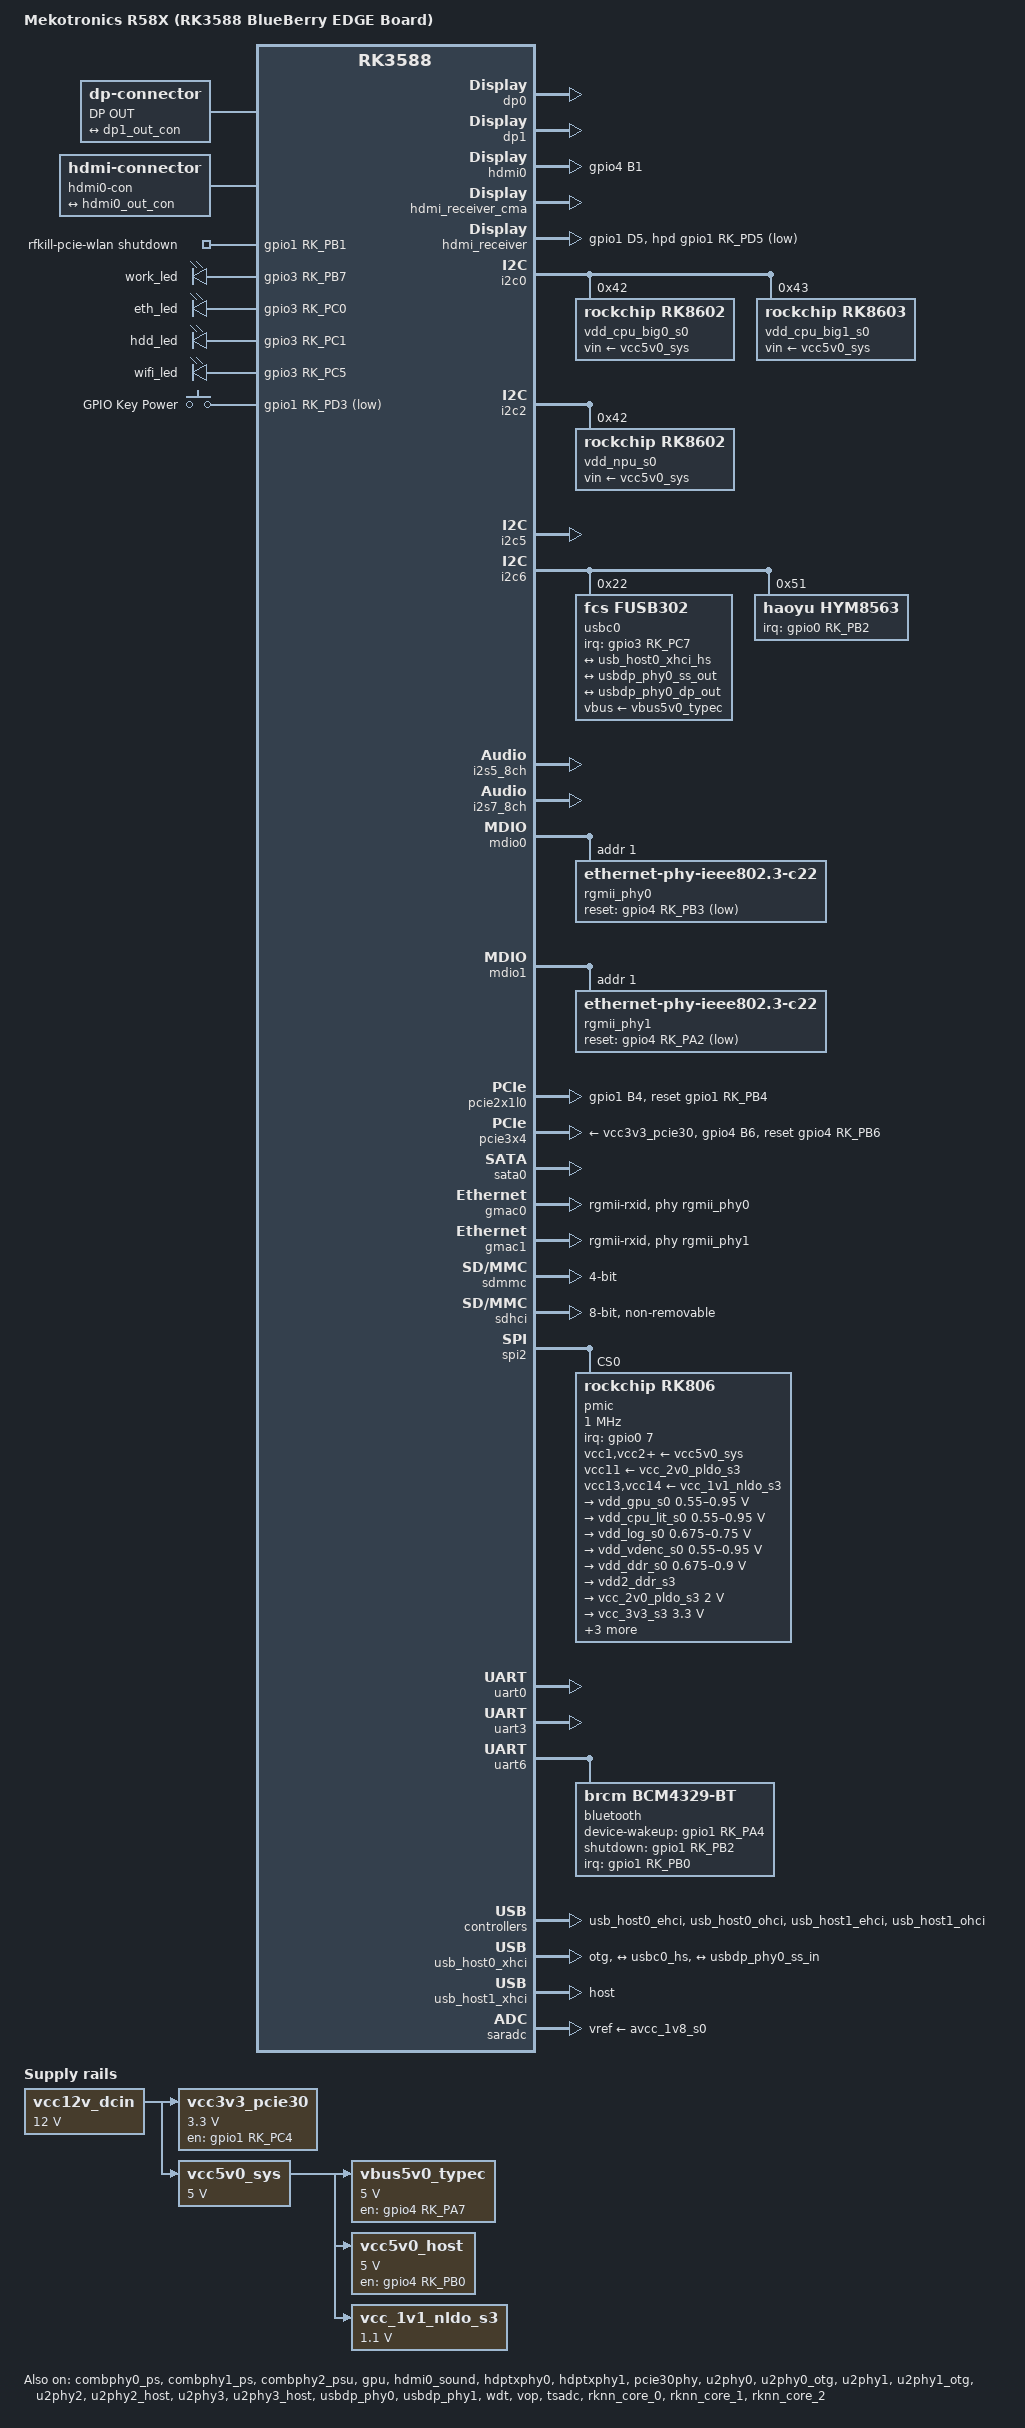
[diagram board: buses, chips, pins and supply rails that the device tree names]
// SPDX-License-Identifier: (GPL-2.0+ OR MIT)
/*
 * Copyright (c) 2026, Corey Moyer <cronmod.dev@gmail.com>
 */

/dts-v1/;

#include <dt-bindings/gpio/gpio.h>
#include <dt-bindings/input/input.h>
#include <dt-bindings/leds/common.h>
#include <dt-bindings/pinctrl/rockchip.h>
#include <dt-bindings/soc/rockchip,vop2.h>
#include <dt-bindings/usb/pd.h>
#include "rk3588.dtsi"

/ {
	model = "Mekotronics R58X (RK3588 BlueBerry EDGE Board)";
	compatible = "rockchip,rk3588-blueberry-edge", "rockchip,rk3588";

	aliases {
		ethernet0 = &gmac0;
		ethernet1 = &gmac1;
		mmc0 = &sdhci;
		mmc1 = &sdmmc;
	};

	chosen {
		stdout-path = "serial2:1500000n8";
	};

	/*
	 * Full-size DisplayPort output, driven by DP1. As on the R58 MiniPC,
	 * this connector is not fitted on every revision; describing it
	 * regardless is harmless, since an absent connector never reports a
	 * sink.
	 */
	dp-con {
		compatible = "dp-connector";
		label = "DP OUT";
		type = "full-size";

		port {
			dp_con_in: endpoint {
				remote-endpoint = <&dp1_out_con>;
			};
		};
	};

	hdmi0-con {
		compatible = "hdmi-connector";
		type = "a";

		port {
			hdmi0_con_in: endpoint {
				remote-endpoint = <&hdmi0_out_con>;
			};
		};
	};

	rfkill {
		compatible = "rfkill-gpio";
		label = "rfkill-pcie-wlan";
		radio-type = "wlan";
		pinctrl-names = "default";
		pinctrl-0 = <&wifi_pwren>;
		shutdown-gpios = <&gpio1 RK_PB1 GPIO_ACTIVE_HIGH>;
	};

	/*
	 * The vendor DTS carries four status LEDs on this board (work, eth,
	 * hdd, wifi) instead of the single heartbeat LED on the MiniPC.
	 */
	leds {
		compatible = "gpio-leds";
		pinctrl-names = "default";
		pinctrl-0 = <&led_pins>;

		work_led: led-0 {
			function = LED_FUNCTION_HEARTBEAT;
			gpios = <&gpio3 RK_PB7 GPIO_ACTIVE_HIGH>;
			linux,default-trigger = "heartbeat";
			default-state = "on";
		};

		eth_led: led-1 {
			function = LED_FUNCTION_LAN;
			gpios = <&gpio3 RK_PC0 GPIO_ACTIVE_HIGH>;
			default-state = "off";
		};

		hdd_led: led-2 {
			function = LED_FUNCTION_DISK;
			gpios = <&gpio3 RK_PC1 GPIO_ACTIVE_HIGH>;
			default-state = "off";
		};

		wifi_led: led-3 {
			function = LED_FUNCTION_WLAN;
			gpios = <&gpio3 RK_PC5 GPIO_ACTIVE_HIGH>;
			default-state = "off";
		};
	};

	gpio-keys {
		compatible = "gpio-keys";
		autorepeat;
		pinctrl-names = "default";
		pinctrl-0 = <&pwrbtn>;

		key-power {
			debounce-interval = <100>;
			gpios = <&gpio1 RK_PD3 GPIO_ACTIVE_LOW>;
			label = "GPIO Key Power";
			linux,code = <KEY_POWER>;
			wakeup-source;
		};
	};

	vcc12v_dcin: regulator-vcc12v-dcin {
		compatible = "regulator-fixed";
		regulator-name = "vcc12v_dcin";
		regulator-always-on;
		regulator-boot-on;
		regulator-min-microvolt = <12000000>;
		regulator-max-microvolt = <12000000>;
	};

	vbus5v0_typec: regulator-vbus5v0-typec {
		compatible = "regulator-fixed";
		regulator-name = "vbus5v0_typec";
		regulator-min-microvolt = <5000000>;
		regulator-max-microvolt = <5000000>;
		enable-active-high;
		gpio = <&gpio4 RK_PA7 GPIO_ACTIVE_HIGH>;
		pinctrl-names = "default";
		pinctrl-0 = <&typec5v_pwren>;
		vin-supply = <&vcc5v0_sys>;
	};

	vcc3v3_pcie30: regulator-vcc3v3-pcie30 {
		compatible = "regulator-fixed";
		regulator-name = "vcc3v3_pcie30";
		regulator-min-microvolt = <3300000>;
		regulator-max-microvolt = <3300000>;
		enable-active-high;
		gpio = <&gpio1 RK_PC4 GPIO_ACTIVE_HIGH>;
		pinctrl-names = "default";
		pinctrl-0 = <&vcc3v3_pcie30_en>;
		startup-delay-us = <10000>;
		vin-supply = <&vcc12v_dcin>;
	};

	vcc5v0_sys: regulator-vcc5v0-sys {
		compatible = "regulator-fixed";
		regulator-name = "vcc5v0_sys";
		regulator-always-on;
		regulator-boot-on;
		regulator-min-microvolt = <5000000>;
		regulator-max-microvolt = <5000000>;
		vin-supply = <&vcc12v_dcin>;
	};

	vcc5v0_host: regulator-vcc5v0-host {
		compatible = "regulator-fixed";
		regulator-name = "vcc5v0_host";
		regulator-boot-on;
		regulator-always-on;
		regulator-min-microvolt = <5000000>;
		regulator-max-microvolt = <5000000>;
		enable-active-high;
		gpio = <&gpio4 RK_PB0 GPIO_ACTIVE_HIGH>;
		pinctrl-names = "default";
		pinctrl-0 = <&vcc5v0_host_en>;
		vin-supply = <&vcc5v0_sys>;
	};

	vcc_1v1_nldo_s3: regulator-vcc-1v1-nldo-s3 {
		compatible = "regulator-fixed";
		regulator-name = "vcc_1v1_nldo_s3";
		regulator-always-on;
		regulator-boot-on;
		regulator-min-microvolt = <1100000>;
		regulator-max-microvolt = <1100000>;
		vin-supply = <&vcc5v0_sys>;
	};
};

&combphy0_ps {
	status = "okay";
};

&combphy1_ps {
	status = "okay";
};

&combphy2_psu {
	status = "okay";
};

&cpu_l0 {
	cpu-supply = <&vdd_cpu_lit_s0>;
};

&cpu_l1 {
	cpu-supply = <&vdd_cpu_lit_s0>;
};

&cpu_l2 {
	cpu-supply = <&vdd_cpu_lit_s0>;
};

&cpu_l3 {
	cpu-supply = <&vdd_cpu_lit_s0>;
};

&cpu_b0 {
	cpu-supply = <&vdd_cpu_big0_s0>;
};

&cpu_b1 {
	cpu-supply = <&vdd_cpu_big0_s0>;
};

&cpu_b2 {
	cpu-supply = <&vdd_cpu_big1_s0>;
};

&cpu_b3 {
	cpu-supply = <&vdd_cpu_big1_s0>;
};

&gpu {
	mali-supply = <&vdd_gpu_s0>;
	status = "okay";
};

/*
 * DisplayPort altmode over USB-C, on VP3. The vendor image leaves this
 * controller off on the MiniPC too, yet the fusb302 and usbdp_phy0's DP port
 * are wired the same on both boards and the firmware lists DP0 among this
 * board's display connectors, so the altmode path is enabled here as well.
 */
&dp0 {
	status = "okay";
};

&dp0_in {
	dp0_in_vp3: endpoint {
		remote-endpoint = <&vp3_out_dp0>;
	};
};

&dp0_out {
	dp0_out_con: endpoint {
		remote-endpoint = <&usbdp_phy0_dp_in>;
	};
};

/*
 * Unlike the MiniPC (which feeds this DP block from VP1, alongside HDMI1 on
 * VP2), the vendor DTS shows this board's only physical DP output enabled
 * from VP2 -- there being no HDMI1 to contend for it.
 */
&dp1 {
	pinctrl-0 = <&dp1m0_pins>;
	pinctrl-names = "default";
	status = "okay";
};

&dp1_in {
	dp1_in_vp2: endpoint {
		remote-endpoint = <&vp2_out_dp1>;
	};
};

&dp1_out {
	dp1_out_con: endpoint {
		remote-endpoint = <&dp_con_in>;
	};
};

&hdmi0 {
	frl-enable-gpios = <&gpio4 RK_PB1 GPIO_ACTIVE_LOW>;
	pinctrl-0 = <&hdmim0_tx0_cec &hdmim0_tx0_hpd
		     &hdmim0_tx0_scl &hdmim0_tx0_sda &hdmi0_tx_on_h>;
	pinctrl-names = "default";
	status = "okay";
};

&hdmi0_in {
	hdmi0_in_vp0: endpoint {
		remote-endpoint = <&vp0_out_hdmi0>;
	};
};

&hdmi0_out {
	hdmi0_out_con: endpoint {
		remote-endpoint = <&hdmi0_con_in>;
	};
};

&hdmi0_sound {
	status = "okay";
};

&hdptxphy0 {
	status = "okay";
};

&hdptxphy1 {
	status = "okay";
};

/*
 * The vendor DTS's second "hdmi@fdea0000" block (hdmi1) is left fully
 * disabled, including every endpoint below it -- it is not repurposed as an
 * RX path, it is simply unused. The genuine HDMI-RX capture path is the
 * separate hdmirx-controller block, which the vendor DTS does enable.
 */
&hdmi_receiver_cma {
	status = "okay";
};

&hdmi_receiver {
	hpd-gpios = <&gpio1 RK_PD5 GPIO_ACTIVE_LOW>;
	pinctrl-0 = <&hdmim1_rx_cec &hdmim1_rx_hpdin &hdmim1_rx_scl &hdmim1_rx_sda &hdmirx_hpd>;
	pinctrl-names = "default";
	status = "okay";
};

&i2c0 {
	pinctrl-names = "default";
	pinctrl-0 = <&i2c0m2_xfer>;
	status = "okay";

	vdd_cpu_big0_s0: regulator@42 {
		compatible = "rockchip,rk8602";
		reg = <0x42>;
		fcs,suspend-voltage-selector = <1>;
		regulator-name = "vdd_cpu_big0_s0";
		regulator-always-on;
		regulator-boot-on;
		regulator-min-microvolt = <550000>;
		regulator-max-microvolt = <1050000>;
		regulator-ramp-delay = <2300>;
		vin-supply = <&vcc5v0_sys>;

		regulator-state-mem {
			regulator-off-in-suspend;
		};
	};

	vdd_cpu_big1_s0: regulator@43 {
		compatible = "rockchip,rk8603", "rockchip,rk8602";
		reg = <0x43>;
		fcs,suspend-voltage-selector = <1>;
		regulator-name = "vdd_cpu_big1_s0";
		regulator-always-on;
		regulator-boot-on;
		regulator-min-microvolt = <550000>;
		regulator-max-microvolt = <1050000>;
		regulator-ramp-delay = <2300>;
		vin-supply = <&vcc5v0_sys>;

		regulator-state-mem {
			regulator-off-in-suspend;
		};
	};
};

&i2c2 {
	status = "okay";

	vdd_npu_s0: regulator@42 {
		compatible = "rockchip,rk8602";
		reg = <0x42>;
		fcs,suspend-voltage-selector = <1>;
		regulator-name = "vdd_npu_s0";
		regulator-boot-on;
		regulator-always-on;
		regulator-enable-ramp-delay = <500>;
		regulator-min-microvolt = <550000>;
		regulator-max-microvolt = <950000>;
		regulator-ramp-delay = <2300>;
		vin-supply = <&vcc5v0_sys>;

		regulator-state-mem {
			regulator-off-in-suspend;
		};
	};
};

&i2c5 {
	pinctrl-names = "default";
	pinctrl-0 = <&i2c5m3_xfer>;
	status = "okay";
};

&i2c6 {
	status = "okay";

	/*
	 * The vendor DTS wires this exactly like the MiniPC's fusb302 (same
	 * i2c6 address, same gpio3 interrupt line, same gpio4 VBUS switch),
	 * even though the R58X.dsc firmware carries no Fusb302 PCDs for this
	 * board. Firmware not managing the chip doesn't mean it isn't there;
	 * trusting the vendor DTS over the PCD list here.
	 */
	usbc0: usb-typec@22 {
		compatible = "fcs,fusb302";
		reg = <0x22>;
		interrupt-parent = <&gpio3>;
		interrupts = <RK_PC7 IRQ_TYPE_LEVEL_LOW>;
		pinctrl-names = "default";
		pinctrl-0 = <&usbc0_int>;
		vbus-supply = <&vbus5v0_typec>;

		usb_con: connector {
			compatible = "usb-c-connector";
			label = "USB-C";
			data-role = "dual";
			power-role = "dual";
			try-power-role = "sink";
			op-sink-microwatt = <1000000>;
			sink-pdos = <PDO_FIXED(5000, 1000, PDO_FIXED_USB_COMM)>;
			source-pdos = <PDO_FIXED(5000, 3000, PDO_FIXED_USB_COMM)>;

			altmodes {
				displayport {
					svid = /bits/ 16 <0xff01>;
					vdo = <0xffffffff>;
				};
			};

			ports {
				#address-cells = <1>;
				#size-cells = <0>;

				port@0 {
					reg = <0>;

					usbc0_hs: endpoint {
						remote-endpoint = <&usb_host0_xhci_hs>;
					};
				};

				port@1 {
					reg = <1>;

					usbc0_ss: endpoint {
						remote-endpoint = <&usbdp_phy0_ss_out>;
					};
				};

				port@2 {
					reg = <2>;

					usbc0_sbu: endpoint {
						remote-endpoint = <&usbdp_phy0_dp_out>;
					};
				};
			};
		};
	};

	hym8563: rtc@51 {
		compatible = "haoyu,hym8563";
		reg = <0x51>;
		#clock-cells = <0>;
		clock-output-names = "hym8563";
		pinctrl-names = "default";
		pinctrl-0 = <&hym8563_int>;
		interrupt-parent = <&gpio0>;
		interrupts = <RK_PB2 IRQ_TYPE_LEVEL_LOW>;
		wakeup-source;
	};
};

/* HDMI0 Sound */
&i2s5_8ch {
	status = "okay";
};

/* HDMI-IN Sound */
&i2s7_8ch {
	status = "okay";
};

&mdio0 {
	rgmii_phy0: ethernet-phy@1 {
		/*
		 * The vendor DTS identifies this with the generic IEEE
		 * 802.3 c22 compatible rather than a part-specific one, so
		 * unlike the MiniPC's RTL8211F this PHY's exact part number
		 * is unconfirmed.
		 */
		compatible = "ethernet-phy-ieee802.3-c22";
		reg = <0x1>;
		pinctrl-names = "default";
		pinctrl-0 = <&gmac0_phy_rst>;
		reset-assert-us = <20000>;
		reset-deassert-us = <100000>;
		reset-gpios = <&gpio4 RK_PB3 GPIO_ACTIVE_LOW>;
	};
};

&mdio1 {
	rgmii_phy1: ethernet-phy@1 {
		/* Part number unconfirmed -- see rgmii_phy0. */
		compatible = "ethernet-phy-ieee802.3-c22";
		reg = <0x1>;
		pinctrl-names = "default";
		pinctrl-0 = <&gmac1_phy_rst>;
		reset-assert-us = <20000>;
		reset-deassert-us = <100000>;
		reset-gpios = <&gpio4 RK_PA2 GPIO_ACTIVE_LOW>;
	};
};

&pcie2x1l0 {
	pinctrl-names = "default";
	pinctrl-0 = <&pcie2_0_rst>;
	reset-gpios = <&gpio1 RK_PB4 GPIO_ACTIVE_HIGH>;
	status = "okay";
};

/*
 * Unlike the MiniPC (which carries PcdPcie30Supported|FALSE), the R58X.dsc
 * has no such override, and the vendor DTS shows this Gen3 x4 link enabled
 * with its own VBUS-style 3V3 rail switched via GPIO1_C4. The Gen3 x2 link
 * at pcie@fe160000 stays disabled in the vendor DTS as well as here.
 */
&pcie30phy {
	status = "okay";
};

&pcie3x4 {
	pinctrl-names = "default";
	pinctrl-0 = <&pcie3_reset>, <&pcie30x4m1_clkreqn>, <&pcie30x4m1_waken>;
	reset-gpios = <&gpio4 RK_PB6 GPIO_ACTIVE_HIGH>;
	vpcie3v3-supply = <&vcc3v3_pcie30>;
	status = "okay";
};

&sata0 {
	status = "okay";
};

&gmac0 {
	clock_in_out = "output";
	phy-handle = <&rgmii_phy0>;
	phy-mode = "rgmii-rxid";
	pinctrl-0 = <&gmac0_miim
		     &gmac0_tx_bus2
		     &gmac0_rx_bus2
		     &gmac0_rgmii_clk
		     &gmac0_rgmii_bus>;
	pinctrl-names = "default";
	rx_delay = <0x00>;
	tx_delay = <0x44>;
	status = "okay";
};

&gmac1 {
	clock_in_out = "output";
	phy-handle = <&rgmii_phy1>;
	phy-mode = "rgmii-rxid";
	pinctrl-0 = <&gmac1_miim
		     &gmac1_tx_bus2
		     &gmac1_rx_bus2
		     &gmac1_rgmii_clk
		     &gmac1_rgmii_bus>;
	pinctrl-names = "default";
	rx_delay = <0x00>;
	tx_delay = <0x42>;
	status = "okay";
};

/*
 * This board has a real SD card slot (the MiniPC does not). The vendor DTS
 * enables mmc@fe2c0000 with a dedicated SDMMC0_DET pin function rather than
 * a plain cd-gpios property, so the card-detect line is described only
 * through the pinctrl group below.
 */
&sdmmc {
	bus-width = <4>;
	cap-mmc-highspeed;
	cap-sd-highspeed;
	disable-wp;
	no-sdio;
	no-mmc;
	pinctrl-names = "default";
	pinctrl-0 = <&sdmmc_bus4 &sdmmc_clk &sdmmc_cmd &sdmmc_det>;
	sd-uhs-sdr104;
	vqmmc-supply = <&vccio_sd_s0>;
	status = "okay";
};

/*
 * PcdDwcSdhciDisableHs400 is set for this board ("otherwise eMMC is
 * unusable"), so unlike the MiniPC this leaves out mmc-hs400-1_8v and
 * mmc-hs400-enhanced-strobe even though the vendor DTS still carries them.
 */
&sdhci {
	bus-width = <8>;
	no-sdio;
	no-sd;
	non-removable;
	max-frequency = <200000000>;
	status = "okay";
};

&spi2 {
	status = "okay";
	assigned-clocks = <&cru CLK_SPI2>;
	assigned-clock-rates = <200000000>;
	pinctrl-names = "default";
	pinctrl-0 = <&spi2m2_cs0 &spi2m2_pins>;
	num-cs = <1>;

	pmic@0 {
		compatible = "rockchip,rk806";
		spi-max-frequency = <1000000>;
		reg = <0x0>;

		interrupt-parent = <&gpio0>;
		interrupts = <7 IRQ_TYPE_LEVEL_LOW>;

		pinctrl-names = "default";
		pinctrl-0 = <&pmic_pins>, <&rk806_dvs1_null>,
			    <&rk806_dvs2_null>, <&rk806_dvs3_null>;

		system-power-controller;

		vcc1-supply = <&vcc5v0_sys>;
		vcc2-supply = <&vcc5v0_sys>;
		vcc3-supply = <&vcc5v0_sys>;
		vcc4-supply = <&vcc5v0_sys>;
		vcc5-supply = <&vcc5v0_sys>;
		vcc6-supply = <&vcc5v0_sys>;
		vcc7-supply = <&vcc5v0_sys>;
		vcc8-supply = <&vcc5v0_sys>;
		vcc9-supply = <&vcc5v0_sys>;
		vcc10-supply = <&vcc5v0_sys>;
		vcc11-supply = <&vcc_2v0_pldo_s3>;
		vcc12-supply = <&vcc5v0_sys>;
		vcc13-supply = <&vcc_1v1_nldo_s3>;
		vcc14-supply = <&vcc_1v1_nldo_s3>;
		vcca-supply = <&vcc5v0_sys>;

		gpio-controller;
		#gpio-cells = <2>;

		rk806_dvs1_null: dvs1-null-pins {
			pins = "gpio_pwrctrl1";
			function = "pin_fun0";
		};

		rk806_dvs2_null: dvs2-null-pins {
			pins = "gpio_pwrctrl2";
			function = "pin_fun0";
		};

		rk806_dvs3_null: dvs3-null-pins {
			pins = "gpio_pwrctrl3";
			function = "pin_fun0";
		};

		regulators {
			vdd_gpu_s0: vdd_gpu_mem_s0: dcdc-reg1 {
				regulator-boot-on;
				regulator-min-microvolt = <550000>;
				regulator-max-microvolt = <950000>;
				regulator-ramp-delay = <12500>;
				regulator-name = "vdd_gpu_s0";
				regulator-enable-ramp-delay = <400>;

				regulator-state-mem {
					regulator-off-in-suspend;
				};
			};

			vdd_cpu_lit_s0: vdd_cpu_lit_mem_s0: dcdc-reg2 {
				regulator-always-on;
				regulator-boot-on;
				regulator-min-microvolt = <550000>;
				regulator-max-microvolt = <950000>;
				regulator-ramp-delay = <12500>;
				regulator-name = "vdd_cpu_lit_s0";

				regulator-state-mem {
					regulator-off-in-suspend;
				};
			};

			vdd_log_s0: dcdc-reg3 {
				regulator-always-on;
				regulator-boot-on;
				regulator-min-microvolt = <675000>;
				regulator-max-microvolt = <750000>;
				regulator-ramp-delay = <12500>;
				regulator-name = "vdd_log_s0";

				/*
				 * Mekotronics keep this rail up across suspend
				 * on this board rather than take the generic
				 * off-in-suspend default; dropping it loses the
				 * logic state the resume path expects.
				 */
				regulator-state-mem {
					regulator-on-in-suspend;
					regulator-suspend-microvolt = <750000>;
				};
			};

			vdd_vdenc_s0: vdd_vdenc_mem_s0: dcdc-reg4 {
				regulator-always-on;
				regulator-boot-on;
				regulator-min-microvolt = <550000>;
				regulator-max-microvolt = <950000>;
				regulator-ramp-delay = <12500>;
				regulator-name = "vdd_vdenc_s0";

				regulator-state-mem {
					regulator-off-in-suspend;
				};
			};

			vdd_ddr_s0: dcdc-reg5 {
				regulator-always-on;
				regulator-boot-on;
				regulator-min-microvolt = <675000>;
				regulator-max-microvolt = <900000>;
				regulator-ramp-delay = <12500>;
				regulator-name = "vdd_ddr_s0";

				regulator-state-mem {
					regulator-off-in-suspend;
					regulator-suspend-microvolt = <850000>;
				};
			};

			vdd2_ddr_s3: dcdc-reg6 {
				regulator-always-on;
				regulator-boot-on;
				regulator-name = "vdd2_ddr_s3";

				regulator-state-mem {
					regulator-on-in-suspend;
				};
			};

			vcc_2v0_pldo_s3: dcdc-reg7 {
				regulator-always-on;
				regulator-boot-on;
				regulator-min-microvolt = <2000000>;
				regulator-max-microvolt = <2000000>;
				regulator-ramp-delay = <12500>;
				regulator-name = "vdd_2v0_pldo_s3";

				regulator-state-mem {
					regulator-on-in-suspend;
					regulator-suspend-microvolt = <2000000>;
				};
			};

			vcc_3v3_s3: dcdc-reg8 {
				regulator-always-on;
				regulator-boot-on;
				regulator-min-microvolt = <3300000>;
				regulator-max-microvolt = <3300000>;
				regulator-name = "vcc_3v3_s3";

				regulator-state-mem {
					regulator-on-in-suspend;
					regulator-suspend-microvolt = <3300000>;
				};
			};

			vddq_ddr_s0: dcdc-reg9 {
				regulator-always-on;
				regulator-boot-on;
				regulator-name = "vddq_ddr_s0";

				regulator-state-mem {
					regulator-off-in-suspend;
				};
			};

			vcc_1v8_s3: dcdc-reg10 {
				regulator-always-on;
				regulator-boot-on;
				regulator-min-microvolt = <1800000>;
				regulator-max-microvolt = <1800000>;
				regulator-name = "vcc_1v8_s3";

				regulator-state-mem {
					regulator-on-in-suspend;
					regulator-suspend-microvolt = <1800000>;
				};
			};

			avcc_1v8_s0: pldo-reg1 {
				regulator-always-on;
				regulator-boot-on;
				regulator-min-microvolt = <1800000>;
				regulator-max-microvolt = <1800000>;
				regulator-name = "avcc_1v8_s0";

				regulator-state-mem {
					regulator-off-in-suspend;
				};
			};

			vcc_1v8_s0: pldo-reg2 {
				regulator-always-on;
				regulator-boot-on;
				regulator-min-microvolt = <1800000>;
				regulator-max-microvolt = <1800000>;
				regulator-name = "vcc_1v8_s0";

				regulator-state-mem {
					regulator-off-in-suspend;
					regulator-suspend-microvolt = <1800000>;
				};
			};

			avdd_1v2_s0: pldo-reg3 {
				regulator-always-on;
				regulator-boot-on;
				regulator-min-microvolt = <1200000>;
				regulator-max-microvolt = <1200000>;
				regulator-name = "avdd_1v2_s0";

				regulator-state-mem {
					regulator-off-in-suspend;
				};
			};

			vcc_3v3_s0: pldo-reg4 {
				regulator-always-on;
				regulator-boot-on;
				regulator-min-microvolt = <3300000>;
				regulator-max-microvolt = <3300000>;
				regulator-ramp-delay = <12500>;
				regulator-name = "vcc_3v3_s0";

				regulator-state-mem {
					regulator-off-in-suspend;
				};
			};

			vccio_sd_s0: pldo-reg5 {
				regulator-always-on;
				regulator-boot-on;
				regulator-min-microvolt = <1800000>;
				regulator-max-microvolt = <3300000>;
				regulator-ramp-delay = <12500>;
				regulator-name = "vccio_sd_s0";

				regulator-state-mem {
					regulator-off-in-suspend;
				};
			};

			pldo6_s3: pldo-reg6 {
				regulator-always-on;
				regulator-boot-on;
				regulator-min-microvolt = <1800000>;
				regulator-max-microvolt = <1800000>;
				regulator-name = "pldo6_s3";

				regulator-state-mem {
					regulator-on-in-suspend;
					regulator-suspend-microvolt = <1800000>;
				};
			};

			vdd_0v75_s3: nldo-reg1 {
				regulator-always-on;
				regulator-boot-on;
				regulator-min-microvolt = <750000>;
				regulator-max-microvolt = <750000>;
				regulator-name = "vdd_0v75_s3";

				regulator-state-mem {
					regulator-on-in-suspend;
					regulator-suspend-microvolt = <750000>;
				};
			};

			vdd_ddr_pll_s0: nldo-reg2 {
				regulator-always-on;
				regulator-boot-on;
				regulator-min-microvolt = <850000>;
				regulator-max-microvolt = <850000>;
				regulator-name = "vdd_ddr_pll_s0";

				regulator-state-mem {
					regulator-off-in-suspend;
					regulator-suspend-microvolt = <850000>;
				};
			};

			avdd_0v75_s0: nldo-reg3 {
				regulator-always-on;
				regulator-boot-on;
				regulator-min-microvolt = <750000>;
				regulator-max-microvolt = <750000>;
				regulator-name = "avdd_0v75_s0";

				regulator-state-mem {
					regulator-off-in-suspend;
				};
			};

			vdd_0v85_s0: nldo-reg4 {
				regulator-always-on;
				regulator-boot-on;
				regulator-min-microvolt = <850000>;
				regulator-max-microvolt = <850000>;
				regulator-name = "vdd_0v85_s0";

				regulator-state-mem {
					regulator-off-in-suspend;
				};
			};

			vdd_0v75_s0: nldo-reg5 {
				regulator-always-on;
				regulator-boot-on;
				regulator-min-microvolt = <750000>;
				regulator-max-microvolt = <750000>;
				regulator-name = "vdd_0v75_s0";

				regulator-state-mem {
					regulator-off-in-suspend;
				};
			};
		};
	};
};

&uart0 {
	status = "okay";
	pinctrl-names = "default";
	pinctrl-0 = <&uart0m2_xfer>;
};

&uart3 {
	status = "okay";
	pinctrl-names = "default";
	pinctrl-0 = <&uart3m2_xfer>;
};

&uart6 {
	status = "okay";
	pinctrl-names = "default";
	pinctrl-0 = <&uart6m1_xfer>, <&uart6m1_rtsn>, <&uart6m1_ctsn>;
	uart-has-rtscts;

	/*
	 * The vendor DTS's downstream "wireless-bluetooth" node uses the same
	 * gpio1 reset/wake/host-wake lines as the MiniPC's bcm4329-bt, so this
	 * is reused unchanged.
	 */
	bluetooth {
		compatible = "brcm,bcm4329-bt";
		clocks = <&hym8563>;
		clock-names = "lpo";
		interrupt-parent = <&gpio1>;
		interrupts = <RK_PB0 IRQ_TYPE_EDGE_FALLING>;
		interrupt-names = "host-wakeup";
		device-wakeup-gpios = <&gpio1 RK_PA4 GPIO_ACTIVE_HIGH>;
		shutdown-gpios = <&gpio1 RK_PB2 GPIO_ACTIVE_HIGH>;
		max-speed = <1500000>;
		pinctrl-names = "default";
		pinctrl-0 = <&bt_reset>, <&bt_host_wake>, <&bt_dev_wake>;
	};
};

/* Type-C Port USB 2.0 Base */
&u2phy0 {
	status = "okay";
};

&u2phy0_otg {
	status = "okay";
};

/* Secondary USB 3.0 / Combo Link Companion */
&u2phy1 {
	status = "okay";
};

&u2phy1_otg {
	phy-supply = <&vcc5v0_host>;
	status = "okay";
};

/* USB 2.0 Hardware Port 1 */
&u2phy2 {
	status = "okay";
};

&u2phy2_host {
	phy-supply = <&vcc5v0_host>;
	status = "okay";
};

/* USB 2.0 Hardware Port 2 */
&u2phy3 {
	status = "okay";
};

&u2phy3_host {
	phy-supply = <&vcc5v0_host>;
	status = "okay";
};

/* Combo PHY for Reversible Signal Muxing */
&usbdp_phy0 {
	mode-switch;
	orientation-switch;
	sbu1-dc-gpios = <&gpio0 RK_PC6 GPIO_ACTIVE_HIGH>;
	sbu2-dc-gpios = <&gpio0 RK_PD3 GPIO_ACTIVE_HIGH>;
	status = "okay";

	port {
		#address-cells = <1>;
		#size-cells = <0>;

		usbdp_phy0_ss_out: endpoint@0 {
			reg = <0>;
			remote-endpoint = <&usbc0_ss>;
		};

		usbdp_phy0_ss_in: endpoint@1 {
			reg = <1>;
			remote-endpoint = <&usb_host0_xhci_ss>;
		};

		usbdp_phy0_dp_in: endpoint@2 {
			reg = <2>;
			remote-endpoint = <&dp0_out_con>;
		};

		usbdp_phy0_dp_out: endpoint@3 {
			reg = <3>;
			remote-endpoint = <&usbc0_sbu>;
		};
	};
};

&usbdp_phy1 {
	rockchip,dp-lane-mux = < 0 1 2 3 >;
	status = "okay";
};

/* Legacy USB 2.0 Hub Drivers */
&usb_host0_ehci {
	status = "okay";
};

&usb_host0_ohci {
	status = "okay";
};

&usb_host1_ehci {
	status = "okay";
};

&usb_host1_ohci {
	status = "okay";
};

/* Type-C Controller - Primary Reversible Engine Wrapper */
&usb_host0_xhci {
	dr_mode = "otg";
	usb-role-switch;
	status = "okay";

	ports {
		#address-cells = <1>;
		#size-cells = <0>;

		port@0 {
			reg = <0>;

			usb_host0_xhci_hs: endpoint {
				remote-endpoint = <&usbc0_hs>;
			};
		};

		port@1 {
			reg = <1>;

			usb_host0_xhci_ss: endpoint {
				remote-endpoint = <&usbdp_phy0_ss_in>;
			};
		};
	};
};

/* USB 3.0 Type-A Port Controller Configuration */
&usb_host1_xhci {
	dr_mode = "host";
	maximum-speed = "high-speed";
	status = "okay";
};

&wdt {
	status = "okay";
};

&pd_gpu {
	domain-supply = <&vdd_gpu_s0>;
};

&pd_npu {
	domain-supply = <&vdd_npu_s0>;
};

&pd_rkvdec0 {
	domain-supply = <&vdd_vdenc_s0>;
};

&pd_rkvdec1 {
	domain-supply = <&vdd_vdenc_s0>;
};

&pd_venc0 {
	domain-supply = <&vdd_vdenc_s0>;
};

&pd_venc1 {
	domain-supply = <&vdd_vdenc_s0>;
};

&pinctrl {
	leds {
		led_pins: led-pins {
			rockchip,pins =
				<3 RK_PB7 RK_FUNC_GPIO &pcfg_pull_none>,
				<3 RK_PC0 RK_FUNC_GPIO &pcfg_pull_none>,
				<3 RK_PC1 RK_FUNC_GPIO &pcfg_pull_none>,
				<3 RK_PC5 RK_FUNC_GPIO &pcfg_pull_none>;
		};
	};

	buttons {
		pwrbtn: pwrbtn {
			rockchip,pins = <1 RK_PD3 RK_FUNC_GPIO &pcfg_pull_up>;
		};
	};

	gmac0-phy {
		gmac0_phy_rst: gmac0-phy-rst {
			rockchip,pins = <4 RK_PB3 RK_FUNC_GPIO &pcfg_pull_none>;
		};
	};

	gmac1-phy {
		gmac1_phy_rst: gmac1-phy-rst {
			rockchip,pins = <4 RK_PA2 RK_FUNC_GPIO &pcfg_pull_none>;
		};
	};

	hdmi {
		hdmi0_tx_on_h: hdmi0-tx-on-h {
			rockchip,pins = <4 RK_PB1 RK_FUNC_GPIO &pcfg_pull_none>;
		};
	};

	hdmirx {
		hdmirx_hpd: hdmirx-5v-detection {
			rockchip,pins = <1 RK_PD5 RK_FUNC_GPIO &pcfg_pull_none>;
		};
	};

	hym8563 {
		hym8563_int: hym8563-int {
			rockchip,pins = <0 RK_PB2 RK_FUNC_GPIO &pcfg_pull_up>;
		};
	};

	pcie2 {
		pcie2_0_rst: pcie2-0-rst {
			rockchip,pins = <1 RK_PB4 RK_FUNC_GPIO &pcfg_pull_none>;
		};
	};

	pcie3 {
		pcie3_reset: pcie3-reset {
			rockchip,pins = <4 RK_PB6 RK_FUNC_GPIO &pcfg_pull_none>;
		};

		vcc3v3_pcie30_en: pcie3-reg {
			rockchip,pins = <1 RK_PC4 RK_FUNC_GPIO &pcfg_pull_none>;
		};
	};

	usb {
		vcc5v0_host_en: vcc5v0-host-en {
			rockchip,pins = <4 RK_PB0 RK_FUNC_GPIO &pcfg_pull_none>;
		};
	};

	usb-typec {
		typec5v_pwren: typec5v-pwren {
			rockchip,pins = <4 RK_PA7 RK_FUNC_GPIO &pcfg_pull_none>;
		};

		usbc0_int: usbc0-int {
			rockchip,pins = <3 RK_PC7 RK_FUNC_GPIO &pcfg_pull_up>;
		};
	};

	wlan {
		wifi_pwren: wifi-pwren {
			rockchip,pins = <1 RK_PB1 RK_FUNC_GPIO &pcfg_pull_up>;
		};
	};

	bluetooth {
		bt_reset: bt-reset {
			rockchip,pins = <1 RK_PB2 RK_FUNC_GPIO &pcfg_pull_none>;
		};

		bt_host_wake: bt-host-wake {
			rockchip,pins = <1 RK_PB0 RK_FUNC_GPIO &pcfg_pull_up>;
		};

		bt_dev_wake: bt-dev-wake {
			rockchip,pins = <1 RK_PA4 RK_FUNC_GPIO &pcfg_pull_down>;
		};
	};
};

&vop {
	status = "okay";
};

&vop_mmu {
	status = "okay";
};

&vp0 {
	vp0_out_hdmi0: endpoint@ROCKCHIP_VOP2_EP_HDMI0 {
		reg = <ROCKCHIP_VOP2_EP_HDMI0>;
		remote-endpoint = <&hdmi0_in_vp0>;
	};
};

/*
 * DP1 takes VP2 here (matching the vendor DTS), unlike the MiniPC where DP1
 * takes VP1 and HDMI1 takes VP2 -- this board has no HDMI1 to contend for it.
 */
&vp2 {
	vp2_out_dp1: endpoint@b {
		reg = <ROCKCHIP_VOP2_EP_DP1>;
		remote-endpoint = <&dp1_in_vp2>;
	};
};

&vp3 {
	vp3_out_dp0: endpoint@a {
		reg = <ROCKCHIP_VOP2_EP_DP0>;
		remote-endpoint = <&dp0_in_vp3>;
	};
};

&saradc {
	status = "okay";
	vref-supply = <&avcc_1v8_s0>;
};

&tsadc {
	status = "okay";
};

&rknn_core_0 {
	npu-supply = <&vdd_npu_s0>;
	sram-supply = <&vdd_npu_s0>;
	status = "okay";
};

&rknn_core_1 {
	npu-supply = <&vdd_npu_s0>;
	sram-supply = <&vdd_npu_s0>;
	status = "okay";
};

&rknn_core_2 {
	npu-supply = <&vdd_npu_s0>;
	sram-supply = <&vdd_npu_s0>;
	status = "okay";
};

&rknn_mmu_0 {
	status = "okay";
};

&rknn_mmu_1 {
	status = "okay";
};

&rknn_mmu_2 {
	status = "okay";
};
